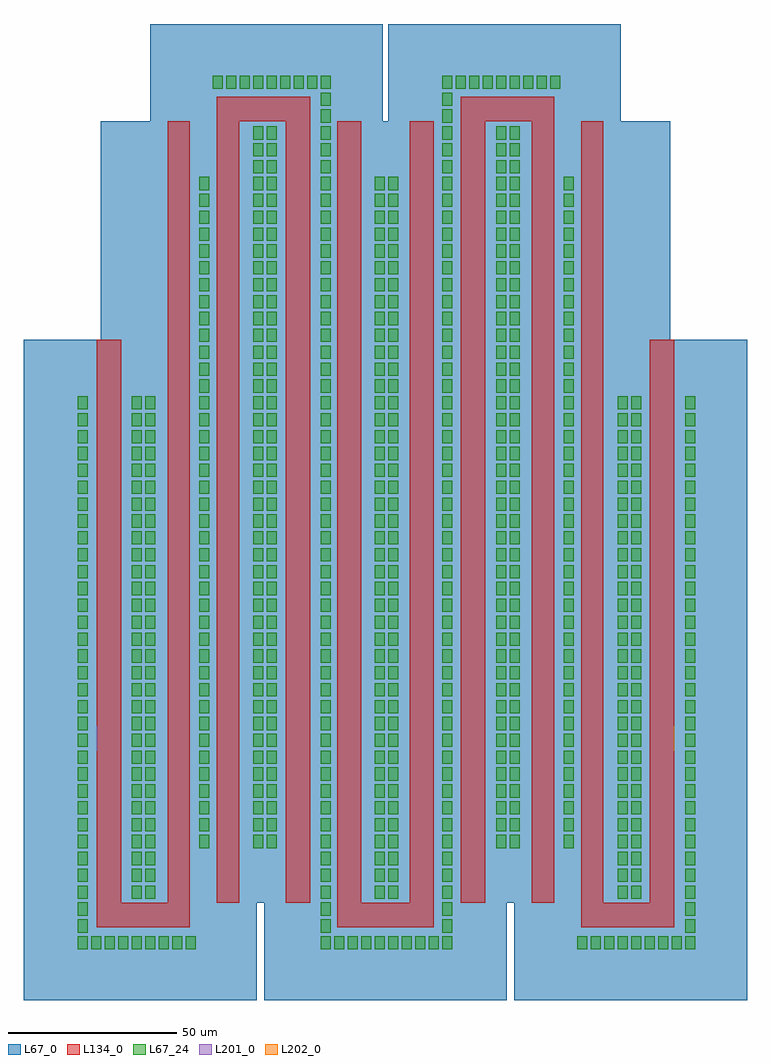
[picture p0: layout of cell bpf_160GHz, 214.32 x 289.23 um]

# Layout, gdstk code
from math import pi, radians
import gdstk
lib = gdstk.Library(unit=1e-6, precision=1e-09)
def R(c, l, rs):  # rectangles x0, y0, x1, y1
    for r in rs: c.add(gdstk.rectangle(r[:2], r[2:], *l))
L67_0 = (67, 0)
L67_24 = (67, 24)
L134_0 = (134, 0)
L201_0 = (201, 0)
L202_0 = (202, 0)

straight_gdsfactorypcomp = lib.new_cell('straight_gdsfactorypcomponentspwaveguidespstraight_L0_N_314f84cf')

c_straight_gdsfactorypcomp = lib.new_cell('straight_gdsfactorypcomponentspwaveguidespstraight_L0_N_18075a77')

tline_l0_scstopmetal2_ro = lib.new_cell('tline_L0_SCStopmetal2_routing_GCSmetal5_routing_WNone_Z50_N2')
tline_l0_scstopmetal2_ro.add(gdstk.Reference(straight_gdsfactorypcomp, (0,0)))
tline_l0_scstopmetal2_ro.add(gdstk.Reference(c_straight_gdsfactorypcomp, (0,0)))

c_straight_gdsfactorypcomp_ = lib.new_cell('straight_gdsfactorypcomponentspwaveguidespstraight_L166_27507053')
R(c_straight_gdsfactorypcomp_, L134_0, [(0,-3.6,166.83,3.6)])

c_straight_gdsfactorypcomp__ = lib.new_cell('straight_gdsfactorypcomponentspwaveguidespstraight_L166_8440dd5a')
R(c_straight_gdsfactorypcomp__, L67_0, [(0,-25.2,166.83,25.2)])

tline_l166p83_scstopmeta = lib.new_cell('tline_L166p83_SCStopmetal2_routing_GCSmetal5_routing_WN_d4e773c3')
tline_l166p83_scstopmeta.add(gdstk.Reference(c_straight_gdsfactorypcomp_, (0,0)))
tline_l166p83_scstopmeta.add(gdstk.Reference(c_straight_gdsfactorypcomp__, (0,0)))

coupler_tline_z67p939468 = lib.new_cell('coupler_tline_Z67p93946885798206_Z39p914512775992414_L2_124059b2')
R(coupler_tline_z67p939468, L67_0, [(0,-30.44,231.63,30.44)])
R(coupler_tline_z67p939468, L134_0, [(0,-10.61,231.63,-4), (0,4,231.63,10.61)])

rectangle_gdsfactorypcom = lib.new_cell('rectangle_gdsfactorypcomponentspshapesprectangle_S7p2_7_2a688ad3')
R(rectangle_gdsfactorypcom, L134_0, [(0,0,7.2,7.2)])

unnamed_16 = lib.new_cell('Unnamed_16')
R(unnamed_16, L67_0, [(0,0,50.4,50.4)])

c__corner_rectangle_w7p2_l = lib.new_cell('_corner_rectangle_W7p2_L7p2_SCStopmetal2_routing_GCSmet_6323a6bc')
c__corner_rectangle_w7p2_l.add(gdstk.Reference(rectangle_gdsfactorypcom, (0,0)))
c__corner_rectangle_w7p2_l.add(gdstk.Reference(unnamed_16, (-21.6,-21.6)))

c_straight_gdsfactorypcomp___ = lib.new_cell('straight_gdsfactorypcomponentspwaveguidespstraight_L13p_8a9a55cb')
R(c_straight_gdsfactorypcomp___, L134_0, [(0,-3.6,13.81,3.6)])

c_straight_gdsfactorypcomp____ = lib.new_cell('straight_gdsfactorypcomponentspwaveguidespstraight_L13p_9e3817ef')
R(c_straight_gdsfactorypcomp____, L67_0, [(0,-25.2,13.81,25.2)])

tline_l13p81_scstopmetal = lib.new_cell('tline_L13p81_SCStopmetal2_routing_GCSmetal5_routing_WNone_Z50_N2')
tline_l13p81_scstopmetal.add(gdstk.Reference(c_straight_gdsfactorypcomp___, (0,0)))
tline_l13p81_scstopmetal.add(gdstk.Reference(c_straight_gdsfactorypcomp____, (0,0)))

c_rectangle_gdsfactorypcom = lib.new_cell('rectangle_gdsfactorypcomponentspshapesprectangle_S6p61__e03c47ae')
R(c_rectangle_gdsfactorypcom, L134_0, [(0,0,6.61,7.2)])

unnamed_23 = lib.new_cell('Unnamed_23')
R(unnamed_23, L67_0, [(0,0,46.27,50.4)])

c__corner_rectangle_w7p2_l_ = lib.new_cell('_corner_rectangle_W7p2_L6p61_SCStopmetal2_routing_GCSme_4e32c115')
c__corner_rectangle_w7p2_l_.add(gdstk.Reference(c_rectangle_gdsfactorypcom, (0,0)))
c__corner_rectangle_w7p2_l_.add(gdstk.Reference(unnamed_23, (-19.83,-21.6)))

coupler_tline_z52p931014 = lib.new_cell('coupler_tline_Z52p931014405115995_Z47p37741073241804_L2_aca58add')
R(coupler_tline_z52p931014, L67_0, [(0,-32.72,231.63,32.72)])
R(coupler_tline_z52p931014, L134_0, [(0,-11.18,231.63,-4), (0,4,231.63,11.18)])

c_straight_gdsfactorypcomp_____ = lib.new_cell('straight_gdsfactorypcomponentspwaveguidespstraight_L13p_e9e2e518')
R(c_straight_gdsfactorypcomp_____, L134_0, [(0,-3.6,13.79,3.6)])

c_straight_gdsfactorypcomp______ = lib.new_cell('straight_gdsfactorypcomponentspwaveguidespstraight_L13p_17c76902')
R(c_straight_gdsfactorypcomp______, L67_0, [(0,-25.2,13.79,25.2)])

tline_l13p79_scstopmetal = lib.new_cell('tline_L13p79_SCStopmetal2_routing_GCSmetal5_routing_WNone_Z50_N2')
tline_l13p79_scstopmetal.add(gdstk.Reference(c_straight_gdsfactorypcomp_____, (0,0)))
tline_l13p79_scstopmetal.add(gdstk.Reference(c_straight_gdsfactorypcomp______, (0,0)))

c_rectangle_gdsfactorypcom_ = lib.new_cell('rectangle_gdsfactorypcomponentspshapesprectangle_S7p18__fccea4ce')
R(c_rectangle_gdsfactorypcom_, L134_0, [(0,0,7.18,7.2)])

unnamed_34 = lib.new_cell('Unnamed_34')
R(unnamed_34, L67_0, [(0,0,50.26,50.4)])

c__corner_rectangle_w7p2_l__ = lib.new_cell('_corner_rectangle_W7p2_L7p18_SCStopmetal2_routing_GCSme_c607def9')
c__corner_rectangle_w7p2_l__.add(gdstk.Reference(c_rectangle_gdsfactorypcom_, (0,0)))
c__corner_rectangle_w7p2_l__.add(gdstk.Reference(unnamed_34, (-21.54,-21.6)))

c_straight_gdsfactorypcomp_______ = lib.new_cell('straight_gdsfactorypcomponentspwaveguidespstraight_L14p_55089f7c')
R(c_straight_gdsfactorypcomp_______, L134_0, [(0,-3.6,14.36,3.6)])

c_straight_gdsfactorypcomp________ = lib.new_cell('straight_gdsfactorypcomponentspwaveguidespstraight_L14p_3910300b')
R(c_straight_gdsfactorypcomp________, L67_0, [(0,-25.2,14.36,25.2)])

tline_l14p36_scstopmetal = lib.new_cell('tline_L14p36_SCStopmetal2_routing_GCSmetal5_routing_WNone_Z50_N2')
tline_l14p36_scstopmetal.add(gdstk.Reference(c_straight_gdsfactorypcomp_______, (0,0)))
tline_l14p36_scstopmetal.add(gdstk.Reference(c_straight_gdsfactorypcomp________, (0,0)))

c__slit_ground = lib.new_cell('_slit_ground')
R(c__slit_ground, L67_24, [(1.1,1.1,4,5)])

hairpin_coupled_line_ban = lib.new_cell('hairpin_coupled_line_bandpass_filter_O3_F160000000000_B_bf8d8369')
hairpin_coupled_line_ban.add(gdstk.Reference(tline_l0_scstopmetal2_ro, (0,0)))
hairpin_coupled_line_ban.add(gdstk.Reference(tline_l166p83_scstopmeta, (3.6,118.145), rotation=3*pi/2))
hairpin_coupled_line_ban.add(gdstk.Reference(coupler_tline_z67p939468, (31.62,182.945), rotation=3*pi/2))
hairpin_coupled_line_ban.add(gdstk.Reference(c__corner_rectangle_w7p2_l, (0,-55.885)))
hairpin_coupled_line_ban.add(gdstk.Reference(tline_l13p81_scstopmetal, (7.2,-52.285)))
hairpin_coupled_line_ban.add(gdstk.Reference(c__corner_rectangle_w7p2_l_, (21.01,-55.885)))
hairpin_coupled_line_ban.add(gdstk.Reference(coupler_tline_z52p931014, (67.2,182.945), rotation=3*pi/2))
hairpin_coupled_line_ban.add(gdstk.Reference(c__corner_rectangle_w7p2_l_, (35.62,182.945)))
hairpin_coupled_line_ban.add(gdstk.Reference(tline_l13p79_scstopmetal, (42.23,186.545)))
hairpin_coupled_line_ban.add(gdstk.Reference(c__corner_rectangle_w7p2_l__, (56.02,182.945)))
hairpin_coupled_line_ban.add(gdstk.Reference(coupler_tline_z52p931014, (103.92,182.945), rotation=3*pi/2))
hairpin_coupled_line_ban.add(gdstk.Reference(c__corner_rectangle_w7p2_l__, (71.2,-55.885)))
hairpin_coupled_line_ban.add(gdstk.Reference(tline_l14p36_scstopmetal, (78.38,-52.285)))
hairpin_coupled_line_ban.add(gdstk.Reference(c__corner_rectangle_w7p2_l__, (92.74,-55.885)))
hairpin_coupled_line_ban.add(gdstk.Reference(coupler_tline_z67p939468, (139.5,182.945), rotation=3*pi/2))
hairpin_coupled_line_ban.add(gdstk.Reference(c__corner_rectangle_w7p2_l__, (107.92,182.945)))
hairpin_coupled_line_ban.add(gdstk.Reference(tline_l13p79_scstopmetal, (115.1,186.545)))
hairpin_coupled_line_ban.add(gdstk.Reference(c__corner_rectangle_w7p2_l_, (128.89,182.945)))
hairpin_coupled_line_ban.add(gdstk.Reference(c__corner_rectangle_w7p2_l_, (143.5,-55.885)))
hairpin_coupled_line_ban.add(gdstk.Reference(tline_l13p81_scstopmetal, (150.11,-52.285)))
hairpin_coupled_line_ban.add(gdstk.Reference(c__corner_rectangle_w7p2_l, (163.92,-55.885)))
hairpin_coupled_line_ban.add(gdstk.Reference(tline_l166p83_scstopmeta, (167.52,118.145), rotation=3*pi/2, x_reflection=True))
hairpin_coupled_line_ban.add(gdstk.Reference(tline_l0_scstopmetal2_ro, (171.12,0)))
r = gdstk.Reference(c__slit_ground, (9.3,-48.585)); r.repetition = gdstk.Repetition(2, 30, v1=(4,0), v2=(0,5)); hairpin_coupled_line_ban.add(r)
r = gdstk.Reference(c__slit_ground, (81.3,-48.585)); r.repetition = gdstk.Repetition(2, 43, v1=(4,0), v2=(0,5)); hairpin_coupled_line_ban.add(r)
r = gdstk.Reference(c__slit_ground, (153.3,-48.585)); r.repetition = gdstk.Repetition(2, 30, v1=(4,0), v2=(0,5)); hairpin_coupled_line_ban.add(r)
r = gdstk.Reference(c__slit_ground, (45.3,-33.585)); r.repetition = gdstk.Repetition(2, 43, v1=(4,0), v2=(0,5)); hairpin_coupled_line_ban.add(r)
r = gdstk.Reference(c__slit_ground, (117.3,-33.585)); r.repetition = gdstk.Repetition(2, 43, v1=(4,0), v2=(0,5)); hairpin_coupled_line_ban.add(r)
r = gdstk.Reference(c__slit_ground, (-6.7,-63.585)); r.repetition = gdstk.Repetition(1, 33, v1=(0,0), v2=(0,5)); hairpin_coupled_line_ban.add(r)
r = gdstk.Reference(c__slit_ground, (-2.7,-63.585)); r.repetition = gdstk.Repetition(8, 1, v1=(4,0), v2=(0,0)); hairpin_coupled_line_ban.add(r)
r = gdstk.Reference(c__slit_ground, (29.3,-33.585)); r.repetition = gdstk.Repetition(1, 40, v1=(0,0), v2=(0,5)); hairpin_coupled_line_ban.add(r)
r = gdstk.Reference(c__slit_ground, (33.3,191.415)); r.repetition = gdstk.Repetition(9, 1, v1=(4,0), v2=(0,0)); hairpin_coupled_line_ban.add(r)
r = gdstk.Reference(c__slit_ground, (65.3,-63.585)); r.repetition = gdstk.Repetition(1, 51, v1=(0,0), v2=(0,5)); hairpin_coupled_line_ban.add(r)
r = gdstk.Reference(c__slit_ground, (69.3,-63.585)); r.repetition = gdstk.Repetition(9, 1, v1=(4,0), v2=(0,0)); hairpin_coupled_line_ban.add(r)
r = gdstk.Reference(c__slit_ground, (101.3,-58.585)); r.repetition = gdstk.Repetition(1, 51, v1=(0,0), v2=(0,5)); hairpin_coupled_line_ban.add(r)
r = gdstk.Reference(c__slit_ground, (105.3,191.415)); r.repetition = gdstk.Repetition(8, 1, v1=(4,0), v2=(0,0)); hairpin_coupled_line_ban.add(r)
r = gdstk.Reference(c__slit_ground, (137.3,-33.585)); r.repetition = gdstk.Repetition(1, 40, v1=(0,0), v2=(0,5)); hairpin_coupled_line_ban.add(r)
r = gdstk.Reference(c__slit_ground, (141.3,-63.585)); r.repetition = gdstk.Repetition(9, 1, v1=(4,0), v2=(0,0)); hairpin_coupled_line_ban.add(r)
r = gdstk.Reference(c__slit_ground, (173.3,-58.585)); r.repetition = gdstk.Repetition(1, 32, v1=(0,0), v2=(0,5)); hairpin_coupled_line_ban.add(r)

c_rectangle_gdsfactorypcom__ = lib.new_cell('rectangle_gdsfactorypcomponentspshapesprectangle_S0p1_7_a4c304ac')
R(c_rectangle_gdsfactorypcom__, L201_0, [(0,0,0.1,7.2)])

c_rectangle_gdsfactorypcom___ = lib.new_cell('rectangle_gdsfactorypcomponentspshapesprectangle_S0p1_7_f59edcc8')
R(c_rectangle_gdsfactorypcom___, L202_0, [(0,0,0.1,7.2)])

bpf_160ghz = lib.new_cell('bpf_160GHz')
bpf_160ghz.add(gdstk.Reference(hairpin_coupled_line_ban, (0,0)))
bpf_160ghz.add(gdstk.Reference(c_rectangle_gdsfactorypcom__, (0,-3.6)))
bpf_160ghz.add(gdstk.Reference(c_rectangle_gdsfactorypcom___, (171.02,-3.6)))

lib.write_gds('bpf_160GHz.gds')
